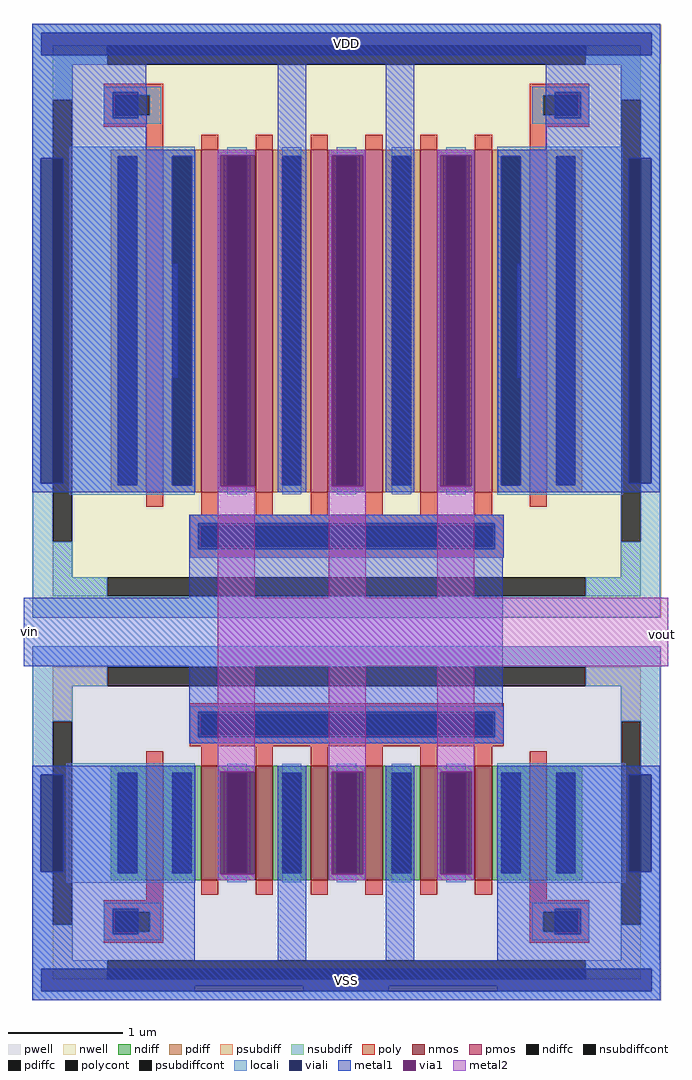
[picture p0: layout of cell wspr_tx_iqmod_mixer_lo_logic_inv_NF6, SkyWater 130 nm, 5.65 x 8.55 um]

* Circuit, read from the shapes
.subckt wspr_tx_iqmod_mixer_lo_logic_inv_NF6 vin VDD vout VSS
XM1 VSS VSS VSS VSS sky130_fd_pr__nfet_01v8 w=1 l=0.15 m=2
XM2 vout vin VSS VSS sky130_fd_pr__nfet_01v8 w=1 l=0.15 m=6
XM3 VDD VDD VDD VDD sky130_fd_pr__pfet_01v8 w=3 l=0.15 m=2
XM4 vout vin VDD VDD sky130_fd_pr__pfet_01v8 w=3 l=0.15 m=6
.ends

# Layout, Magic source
magic
tech sky130A
magscale 1 2
<< locali >>
rect 10 160 230 770
rect 760 160 980 770
rect 5 -520 230 -310
rect 760 -520 985 -310
<< viali >>
rect -40 180 0 750
rect 990 180 1030 750
rect -40 -500 0 -330
rect 990 -500 1030 -330
<< metal1 >>
rect -55 915 1045 985
rect -55 765 145 915
rect -55 750 190 765
rect -55 180 -40 750
rect 0 565 190 750
rect 270 755 335 765
rect 0 365 200 565
rect 0 180 190 365
rect -55 165 190 180
rect 270 175 275 755
rect 270 165 335 175
rect 375 165 425 915
rect 465 755 530 765
rect 465 175 470 755
rect 525 175 530 755
rect 465 165 530 175
rect 565 165 615 915
rect 845 765 1045 915
rect 655 755 720 765
rect 655 175 660 755
rect 715 175 720 755
rect 800 750 1045 765
rect 800 565 990 750
rect 795 365 990 565
rect 655 165 720 175
rect 800 180 990 365
rect 1030 180 1045 750
rect 800 165 1045 180
rect 220 -20 770 125
rect -70 -140 770 -20
rect 220 -275 770 -140
rect -55 -330 230 -315
rect -55 -500 -40 -330
rect 0 -500 230 -330
rect -55 -515 230 -500
rect 270 -325 335 -315
rect 270 -505 275 -325
rect 270 -515 335 -505
rect -55 -520 231 -515
rect -55 -655 230 -520
rect 375 -655 425 -315
rect 465 -325 530 -315
rect 465 -505 470 -325
rect 525 -505 530 -325
rect 465 -515 530 -505
rect 565 -655 615 -315
rect 655 -325 720 -315
rect 655 -505 660 -325
rect 715 -505 720 -325
rect 655 -515 720 -505
rect 760 -330 1045 -315
rect 760 -500 990 -330
rect 1030 -500 1045 -330
rect 760 -655 1045 -500
rect -55 -700 1045 -655
rect -55 -725 230 -700
rect 420 -720 570 -700
rect 760 -725 1045 -700
<< via1 >>
rect 275 175 335 755
rect 470 175 525 755
rect 660 175 715 755
rect 275 -505 335 -325
rect 470 -505 525 -325
rect 660 -505 715 -325
<< metal2 >>
rect 270 755 335 765
rect 270 175 275 755
rect 270 -20 335 175
rect 465 755 530 765
rect 465 175 470 755
rect 525 175 530 755
rect 465 -20 530 175
rect 655 755 720 765
rect 655 175 660 755
rect 715 175 720 755
rect 655 -20 720 175
rect 270 -140 1060 -20
rect 270 -325 335 -140
rect 270 -505 275 -325
rect 270 -515 335 -505
rect 465 -325 530 -140
rect 465 -505 470 -325
rect 525 -505 530 -325
rect 465 -515 530 -505
rect 655 -325 720 -140
rect 655 -505 660 -325
rect 715 -505 720 -325
rect 655 -515 720 -505
use sky130_fd_pr__nfet_01v8_4FXFJ2  sky130_fd_pr__nfet_01v8_4FXFJ2_0
transform 1 0 496 0 1 -415
box -551 -310 551 310
use sky130_fd_pr__pfet_01v8_JBT5N5  sky130_fd_pr__pfet_01v8_JBT5N5_0
transform 1 0 496 0 1 465
box -551 -520 551 520
<< labels >>
flabel metal1 -60 -80 -60 -80 0 FreeSans 400 0 0 0 vin
port 5 nsew
flabel metal1 495 950 495 950 0 FreeSans 400 0 0 0 VDD
port 13 nsew
flabel metal2 1050 -85 1050 -85 0 FreeSans 400 0 0 0 vout
port 15 nsew
flabel metal1 495 -690 495 -690 0 FreeSans 400 0 0 0 VSS
port 17 nsew
<< end >>

# cell sky130_fd_pr__nfet_01v8_4FXFJ2: kit device sky130_fd_pr__nfet_01v8, w 1.0 l 0.150 m 1 nf 8 diffcov 100 polycov 100 guard 1 glc 1 grc 1 gtc 1 gbc 1 tbcov 100 rlcov 100 topc 1 botc 1 poverlap 0 doverlap 1 lmin 0.15 wmin 0.42 class mosfet compatible {sky130_fd_pr__nfet_01v8 sky130_fd_pr__nfet_01v8_lvt sky130_fd_bs_flash__special_sonosfet_star sky130_fd_pr__nfet_g5v0d10v5 sky130_fd_pr__nfet_05v0_nvt sky130_fd_pr__nfet_03v3_nvt} full_metal 1 conn_gates 0 viasrc 100 viadrn 100 viagate 100 viagb 0 viagr 0 viagl 0 viagt 0 doports 1

# cell sky130_fd_pr__pfet_01v8_JBT5N5: kit device sky130_fd_pr__pfet_01v8, w 3.0 l 0.15 m 1 nf 8 diffcov 100 polycov 100 guard 1 glc 1 grc 1 gtc 1 gbc 1 tbcov 100 rlcov 100 topc 1 botc 1 poverlap 0 doverlap 1 lmin 0.15 wmin 0.42 class mosfet compatible {sky130_fd_pr__pfet_01v8 sky130_fd_pr__pfet_01v8_lvt sky130_fd_pr__pfet_01v8_hvt sky130_fd_pr__pfet_g5v0d10v5} full_metal 1 conn_gates 0 viasrc 100 viadrn 100 viagate 100 viagb 0 viagr 0 viagl 0 viagt 0 doports 1
